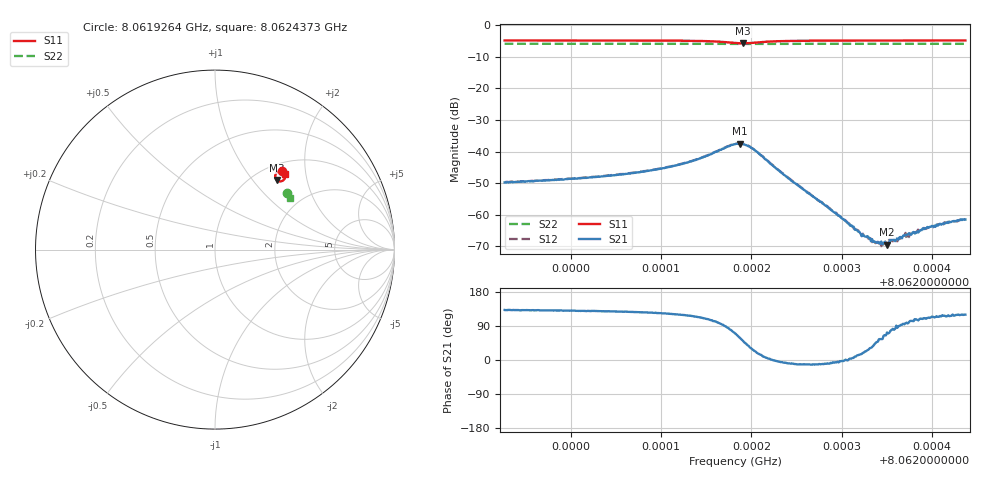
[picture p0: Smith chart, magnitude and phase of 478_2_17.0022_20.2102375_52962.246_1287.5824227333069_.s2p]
#  HZ  S  RI  R  50.00
! Rohde & Schwarz Vector Network Analyzer
! Rohde-Schwarz,ZNB20-2Port,1311601062101988,3.16
! Created: UTC 3/20/2024, 11:13:27 PM
! freq[Hz]  re:S11  im:S11  re:S21  im:S21  re:S12  im:S12  re:S22  im:S22
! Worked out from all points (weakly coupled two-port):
!   401 points, 8.0619264 GHz to 8.0624373 GHz, reference 50 ohm
!   highest |S21| = -37.47 dB at 8.062187 GHz (marker M1); lowest = -69.4 dB at 8.0623505 GHz (marker M2)
!   lowest |S11| = -5.7 dB at 8.0621908 GHz (marker M3), VSWR 3.15, Z = 63 + j66.7 ohm
!   |S11| at or under -10 dB: nowhere
!   |S22| runs from -5.9 to -5.8 dB; largest |S21 - S12| = 0.00094
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8.0619264e9  0.3721 0.4396  -0.00217 0.00241  -0.00202 0.00258  0.4012 0.3156
8.06201198e9  0.3786 0.4337  -0.00244 0.00293  -0.00228 0.00309  0.4044 0.3113
8.06209756e9  0.3865 0.4234  -0.00294 0.0044  -0.00272 0.00462  0.4075 0.3067
8.06213588e9  0.3905 0.4123  -0.00311 0.00652  -0.00271 0.00677  0.4088 0.3043
8.06218186e9  0.3624 0.38  0.00434 0.0124  0.00518 0.0122  0.4088 0.301
8.06218697e9  0.3514 0.3826  0.00696 0.0114  0.00755 0.0111  0.4082 0.3011
8.0621908e9  0.3438 0.3876  0.00835 0.0101  0.00898 0.00977  0.4083 0.3012
8.06220485e9  0.3362 0.415  0.00951 0.00381  0.00976 0.00316  0.4088 0.3019
8.06223423e9  0.3578 0.435  0.00451 -0.000446  0.00451 -0.000766  0.4111 0.301
8.06226744e9  0.371 0.4346  0.00195 -0.000424  0.00193 -0.000547  0.4128 0.2992
8.06232492e9  0.3814 0.4301  0.000434 0.00016  0.000427 0.000137  0.415 0.2962
8.06233769e9  0.3829 0.4292  0.000262 0.000261  0.000267 0.000234  0.4155 0.2955
8.06234408e9  0.3835 0.4288  0.000213 0.000311  0.000207 0.000241  0.4156 0.2951
8.06235046e9  0.3842 0.4284  0.000101 0.000322  0.000132 0.000364  0.4159 0.2948
8.06235302e9  0.3845 0.4282  0.00011 0.00034  9.77e-05 0.000395  0.416 0.2946
8.0623594e9  0.3851 0.4276  5.22e-05 0.000379  5.87e-05 0.000363  0.4163 0.2944
8.06236835e9  0.3859 0.4271  -4.61e-05 0.000466  -2.43e-05 0.00045  0.4166 0.2939
8.06237473e9  0.3866 0.4267  -8.45e-05 0.000502  -4.03e-05 0.000442  0.4167 0.2935
8.06237856e9  0.3869 0.4265  -0.000118 0.000506  -6.37e-05 0.000522  0.417 0.2935
8.06239772e9  0.3885 0.4252  -0.000231 0.0006  -0.000173 0.000611  0.4176 0.2923
8.06240922e9  0.3894 0.4245  -0.000317 0.000646  -0.000298 0.000657  0.418 0.2916
8.06243732e9  0.3916 0.4229  -0.000417 0.000731  -0.000377 0.000766  0.419 0.2902
